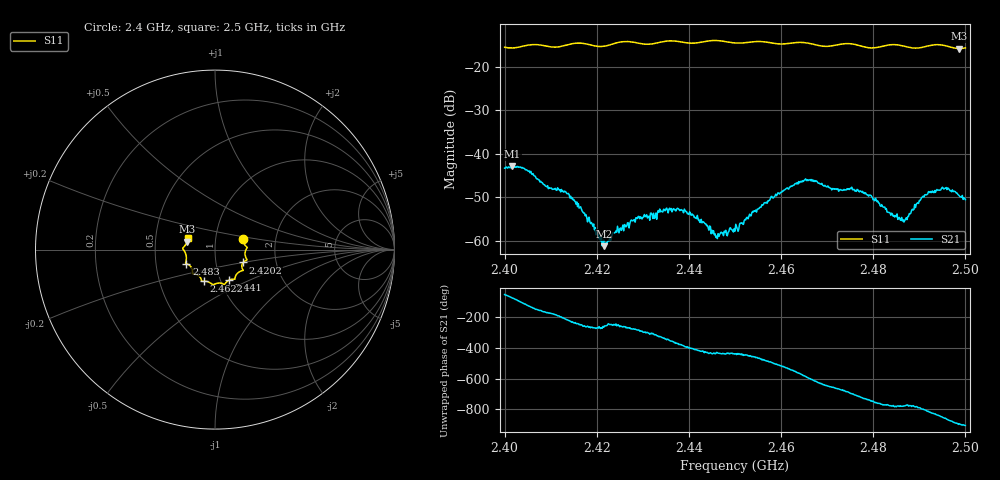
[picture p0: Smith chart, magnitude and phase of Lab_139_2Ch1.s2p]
# Hz S RI R 50
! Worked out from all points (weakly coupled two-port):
!   601 points, 2.4 GHz to 2.5 GHz, reference 50 ohm
!   highest |S21| = -42.88 dB at 2.4017 GHz (marker M1); lowest = -61.2 dB at 2.4217 GHz (marker M2)
!   lowest |S11| = -15.8 dB at 2.4987 GHz (marker M3), VSWR 1.39, Z = 36.4 + j3.28 ohm
!   |S11| at or under -10 dB: start of sweep to end of sweep
!   S12 and S22 are empty: the file has one direction only
!   S11 on the Smith chart (normalised r, x): 2.4 GHz: 1.36, +0.17; 2.4202 GHz: 1.35, -0.20; 2.441 GHz: 1.10, -0.39; 2.4622 GHz: 0.83, -0.30; 2.483 GHz: 0.72, -0.12; 2.5 GHz: 0.73, +0.09
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2.4e9  0.1564 0.0607  0.00421 -0.00541  0 0  0 0
2.401667e9  0.1597 0.0406  0.00196 -0.00691  0 0  0 0
2.4135e9  0.1725 -0.0455  -0.00284 0.00205  0 0  0 0
2.416667e9  0.1777 -0.0581  -0.000842 0.00217  0 0  0 0
2.420167e9  0.1564 -0.0718  -1.9e-05 0.00126  0 0  0 0
2.421667e9  0.1501 -0.0858  -0.000204 0.000848  0 0  0 0
2.427667e9  0.1532 -0.1174  0.000207 0.00171  0 0  0 0
2.433333e9  0.1129 -0.1521  0.00181 0.0013  0 0  0 0
2.437833e9  0.1045 -0.1649  0.0022 -0.000715  0 0  0 0
2.441e9  0.077 -0.1705  0.00135 -0.00145  0 0  0 0
2.446e9  0.0517 -0.1939  0.000396 -0.00106  0 0  0 0
2.45e9  0.0267 -0.1863  0.000272 -0.00127  0 0  0 0
2.462167e9  -0.063 -0.1763  -0.00428 0.000237  0 0  0 0
2.466667e9  -0.0764 -0.1669  -0.00211 0.00462  0 0  0 0
2.477833e9  -0.1258 -0.1152  0.00351 -0.000606  0 0  0 0
2.483e9  -0.159 -0.0781  0.0014 -0.00163  0 0  0 0
2.483333e9  -0.1607 -0.0774  0.00126 -0.00172  0 0  0 0
2.486833e9  -0.1608 -0.061  0.000908 -0.00146  0 0  0 0
2.492333e9  -0.1763 -0.000407  -0.000583 -0.00355  0 0  0 0
2.495333e9  -0.1761 0.0122  -0.00286 -0.00272  0 0  0 0
2.498667e9  -0.1558 0.0439  -0.0033 -0.000318  0 0  0 0
2.5e9  -0.1529 0.0626  -0.00297 0.000279  0 0  0 0
